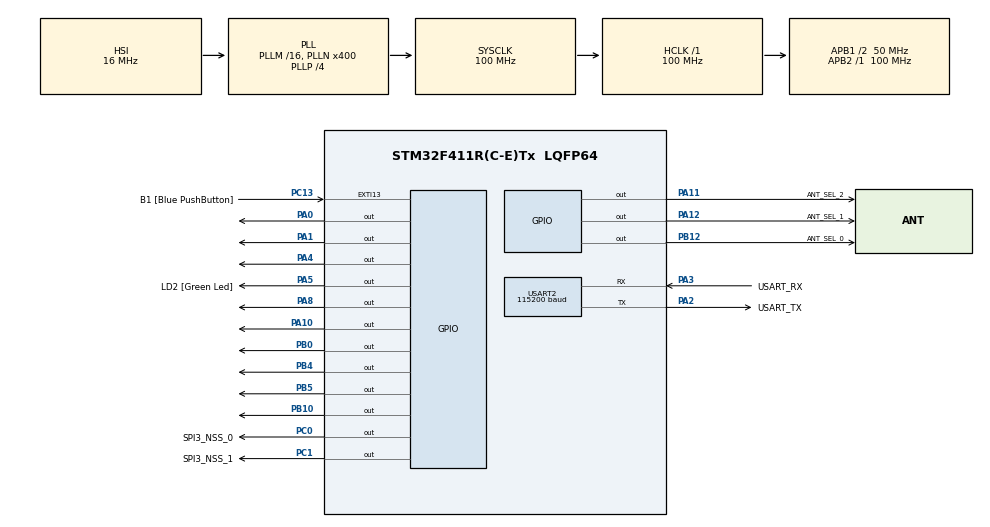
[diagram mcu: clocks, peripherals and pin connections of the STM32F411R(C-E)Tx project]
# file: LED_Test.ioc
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Mcu.Family=STM32F4
Mcu.Name=STM32F411R(C-E)Tx
Mcu.Package=LQFP64
NVIC.PriorityGroup=NVIC_PRIORITYGROUP_2
NVIC.USART2_IRQn=true\:1\:0\:true\:false\:true\:true
PA0-WKUP.Signal=GPIO_Output
PA1.Signal=GPIO_Output
PA10.PinState=GPIO_PIN_SET
PA10.Signal=GPIO_Output
PA11.GPIO_Label=ANT_SEL_2
PA11.PinState=GPIO_PIN_SET
PA11.Signal=GPIO_Output
PA12.GPIO_Label=ANT_SEL_1
PA12.PinState=GPIO_PIN_SET
PA12.Signal=GPIO_Output
PA13.GPIO_Label=TMS
PA13.Mode=Serial_Wire
PA13.Signal=SYS_JTMS-SWDIO
PA14.GPIO_Label=TCK
PA14.Mode=Serial_Wire
PA14.Signal=SYS_JTCK-SWCLK
PA2.GPIO_Label=USART_TX
PA2.Mode=Asynchronous
PA2.Signal=USART2_TX
PA3.GPIO_Label=USART_RX
PA3.Mode=Asynchronous
PA3.Signal=USART2_RX
PA4.Signal=GPIO_Output
PA5.GPIO_Label=LD2 [Green Led]
PA5.PinState=GPIO_PIN_SET
PA5.Signal=GPIO_Output
PA8.PinState=GPIO_PIN_SET
PA8.Signal=GPIO_Output
PB0.PinState=GPIO_PIN_SET
PB0.Signal=GPIO_Output
PB10.PinState=GPIO_PIN_SET
PB10.Signal=GPIO_Output
PB12.GPIO_Label=ANT_SEL_0
PB12.PinState=GPIO_PIN_SET
PB12.Signal=GPIO_Output
PB3.GPIO_Label=SWO
PB3.Signal=SYS_JTDO-SWO
PB4.PinState=GPIO_PIN_SET
PB4.Signal=GPIO_Output
PB5.PinState=GPIO_PIN_SET
PB5.Signal=GPIO_Output
PC0.GPIO_Label=SPI3_NSS_0
PC0.PinState=GPIO_PIN_SET
PC0.Signal=GPIO_Output
PC1.GPIO_Label=SPI3_NSS_1
PC1.PinState=GPIO_PIN_SET
PC1.Signal=GPIO_Output
PC13-ANTI_TAMP.GPIO_Label=B1 [Blue PushButton]
PC13-ANTI_TAMP.GPIO_ModeDefaultEXTI=GPIO_MODE_IT_FALLING
PC13-ANTI_TAMP.Signal=GPXTI13
PC14-OSC32_IN.Mode=LSE-External-Oscillator
PC14-OSC32_IN.Signal=RCC_OSC32_IN
PC15-OSC32_OUT.Mode=LSE-External-Oscillator
PC15-OSC32_OUT.Signal=RCC_OSC32_OUT
PH0\ -\ OSC_IN.Mode=HSE-External-Clock-Source
PH0\ -\ OSC_IN.Signal=RCC_OSC_IN
PH1\ -\ OSC_OUT.Mode=HSE-External-Clock-Source
PH1\ -\ OSC_OUT.Signal=RCC_OSC_OUT
ProjectManager.HeapSize=0x200
ProjectManager.StackSize=0x400
ProjectManager.TargetToolchain=SW4STM32
RCC.48MHZClocksFreq_Value=100000000
RCC.AHBFreq_Value=100000000
RCC.APB1CLKDivider=RCC_HCLK_DIV2
RCC.APB1Freq_Value=50000000
RCC.APB1TimFreq_Value=100000000
RCC.APB2Freq_Value=100000000
RCC.APB2TimFreq_Value=100000000
RCC.CortexFreq_Value=100000000
RCC.FLatency-AdvancedSettings=FLASH_LATENCY_3
RCC.HCLKFreq_Value=100000000
RCC.HSE_VALUE=8000000
RCC.HSI_VALUE=16000000
RCC.PLLN=400
RCC.PLLP=RCC_PLLP_DIV4
RCC.SYSCLKFreq_VALUE=100000000
RCC.SYSCLKSource=RCC_SYSCLKSOURCE_PLLCLK
RCC.VCOOutputFreq_Value=400000000
TIM3.Period=2000
TIM3.Prescaler=9999
USART2.BaudRate=115200
USART2.Mode=MODE_TX_RX
USART2.VirtualMode=VM_ASYNC
VP_TIM3_VS_ClockSourceINT.Mode=Internal
board=NUCLEO-F411RE

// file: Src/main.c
/* USER CODE BEGIN Header */
/*   MIT License
*
*    Copyright (c) 2019 Timothy Pansino, Adam Behnke, Zachary Neumann, Mitchell Keeney
*
*    Permission is hereby granted, free of charge, to any person obtaining a copy
*    of this software and associated documentation files (the "Software"), to deal
*    in the Software without restriction, including without limitation the rights
*    to use, copy, modify, merge, publish, distribute, sublicense, and/or sell
*    copies of the Software, and to permit persons to whom the Software is
*    furnished to do so, subject to the following conditions:
*
*    The above copyright notice and this permission notice shall be included in all
*    copies or substantial portions of the Software.
*
*    THE SOFTWARE IS PROVIDED "AS IS", WITHOUT WARRANTY OF ANY KIND, EXPRESS OR
*    IMPLIED, INCLUDING BUT NOT LIMITED TO THE WARRANTIES OF MERCHANTABILITY,
*    FITNESS FOR A PARTICULAR PURPOSE AND NONINFRINGEMENT. IN NO EVENT SHALL THE
*    AUTHORS OR COPYRIGHT HOLDERS BE LIABLE FOR ANY CLAIM, DAMAGES OR OTHER
*    LIABILITY, WHETHER IN AN ACTION OF CONTRACT, TORT OR OTHERWISE, ARISING FROM,
*    OUT OF OR IN CONNECTION WITH THE SOFTWARE OR THE USE OR OTHER DEALINGS IN THE
*    SOFTWARE.
*/
/**
  ******************************************************************************
  * @file           : main.c
  * @brief          : Main program body
  ******************************************************************************
  ** This notice applies to any and all portions of this file
  * that are not between comment pairs USER CODE BEGIN and
  * USER CODE END. Other portions of this file, whether
  * inserted by the user or by software development tools
  * are owned by their respective copyright owners.
  *
  * COPYRIGHT(c) 2019 STMicroelectronics
  *
  * Redistribution and use in source and binary forms, with or without modification,
  * are permitted provided that the following conditions are met:
  *   1. Redistributions of source code must retain the above copyright notice,
  *      this list of conditions and the following disclaimer.
  *   2. Redistributions in binary form must reproduce the above copyright notice,
  *      this list of conditions and the following disclaimer in the documentation
  *      and/or other materials provided with the distribution.
  *   3. Neither the name of STMicroelectronics nor the names of its contributors
  *      may be used to endorse or promote products derived from this software
  *      without specific prior written permission.
  *
  * THIS SOFTWARE IS PROVIDED BY THE COPYRIGHT HOLDERS AND CONTRIBUTORS "AS IS"
  * AND ANY EXPRESS OR IMPLIED WARRANTIES, INCLUDING, BUT NOT LIMITED TO, THE
  * IMPLIED WARRANTIES OF MERCHANTABILITY AND FITNESS FOR A PARTICULAR PURPOSE ARE
  * DISCLAIMED. IN NO EVENT SHALL THE COPYRIGHT HOLDER OR CONTRIBUTORS BE LIABLE
  * FOR ANY DIRECT, INDIRECT, INCIDENTAL, SPECIAL, EXEMPLARY, OR CONSEQUENTIAL
  * DAMAGES (INCLUDING, BUT NOT LIMITED TO, PROCUREMENT OF SUBSTITUTE GOODS OR
  * SERVICES; LOSS OF USE, DATA, OR PROFITS; OR BUSINESS INTERRUPTION) HOWEVER
  * CAUSED AND ON ANY THEORY OF LIABILITY, WHETHER IN CONTRACT, STRICT LIABILITY,
  * OR TORT (INCLUDING NEGLIGENCE OR OTHERWISE) ARISING IN ANY WAY OUT OF THE USE
  * OF THIS SOFTWARE, EVEN IF ADVISED OF THE POSSIBILITY OF SUCH DAMAGE.
  *
  ******************************************************************************
  */
/* USER CODE END Header */

#include "main.h"

/* USER CODE BEGIN Includes */
#include <stdarg.h>
#include <string.h>

#include "pieces.h"
#include "chess.h"
#include "micro.h"

/* USER CODE END Includes */

/* USER CODE BEGIN PD */
#define		LED_ADDRESS_0	GPIOA, GPIO_PIN_0
#define		LED_ADDRESS_1	GPIOA, GPIO_PIN_1
#define		LED_ADDRESS_2	GPIOA, GPIO_PIN_4
#define		LED_ADDRESS_3	GPIOB, GPIO_PIN_0
#define		LED_ADDRESS_4	GPIOC, GPIO_PIN_1
#define		LED_ADDRESS_5	GPIOC, GPIO_PIN_0
#define		LED_BLUE		GPIOA, GPIO_PIN_8
#define		LED_GREEN		GPIOB, GPIO_PIN_10
#define		LED_RED			GPIOB, GPIO_PIN_4
#define		LED_ENABLE		GPIOB, GPIO_PIN_5

#define 	TEST_DELAY		200

/* USER CODE END PD */

TIM_HandleTypeDef htim3;

UART_HandleTypeDef huart2;

/* USER CODE BEGIN PV */
char receiveBuffer[100];
char transmitBuffer[100];
char s[100];
int dataReceivedFlag = 0;
uint8_t receivedData = 0;
int currentLocation = 0;
int rfidReaderAddress = 0;
int rfidAntennaAddress = 0;

char* hello_world = "Hello World!";
char* newlineStr = NEWLINE_STR;
char* backSpace = BACKSPACE_STR;

// Boards
B curBoard;
B scanBoard;
/* USER CODE END PV */

void SystemClock_Config(void);
static void MX_GPIO_Init(void);
static void MX_USART2_UART_Init(void);
static void MX_TIM3_Init(void);
/* USER CODE BEGIN PFP */
void HAL_UART_RxCpltCallback(UART_HandleTypeDef * huart);
char * receiveString(void);
void transmitString(char *);
/* USER CODE END PFP */

int main(void)
{

  /* MCU Configuration--------------------------------------------------------*/

  /* Reset of all peripherals, Initializes the Flash interface and the Systick. */
  HAL_Init();

  /* Configure the system clock */
  SystemClock_Config();

  /* Initialize all configured peripherals */
  MX_GPIO_Init();
  MX_USART2_UART_Init();
  MX_TIM3_Init();
  /* USER CODE BEGIN 2 */
  // Uart init message
  Print(CLEAR_TERMINAL);
  Print("UART Initialized.\n");

  // Initialize Pins
  HAL_GPIO_WritePin(GPIOA, GPIO_PIN_5, 0);

  // Setup Board State
  blankBoard(curBoard);
  blankBoard(scanBoard);

  // Set LEDs blank
  for (int i = 0; i < 64; i++) {
	  updateLED(i, 0);
  }

  HAL_TIM_Base_Start_IT(&htim3);
  /* USER CODE END 2 */

  /* Infinite loop */
  /* USER CODE BEGIN WHILE */
  while (1)
  {
	// Scan
	//Print(CLEAR_TERMINAL);

  	Print("Testing...\n");
  	HAL_GPIO_WritePin(GPIOA, GPIO_PIN_5, 1);
    for (int i = 0; i < 16; i++) {

	  updateLED(i, 1);
	  HAL_Delay(TEST_DELAY);
	  updateLED(i, 2);
	  HAL_Delay(TEST_DELAY);
	  updateLED(i, 4);
	  HAL_Delay(TEST_DELAY);
	  updateLED(i, 0);
	  HAL_Delay(TEST_DELAY);

    	/*
  	  updateLED(i, 7);
  	  HAL_Delay(TEST_DELAY);
	  updateLED(i, 0);
	  HAL_Delay(TEST_DELAY);
	  */

    	/*
      updateLED(i, 1);
      updateLED((i+1) % 16, 2);
      updateLED((i+2) % 16, 4);
      updateLED((i+3) % 16, 0);
      HAL_Delay(TEST_DELAY);
      */
    }
  	HAL_GPIO_WritePin(GPIOA, GPIO_PIN_5, 0);
	HAL_Delay(1000);

	// Delay
    /* USER CODE END WHILE */

  }
}

void SystemClock_Config(void)
{
  RCC_OscInitTypeDef RCC_OscInitStruct = {0};
  RCC_ClkInitTypeDef RCC_ClkInitStruct = {0};

  /**Configure the main internal regulator output voltage
  */
  __HAL_RCC_PWR_CLK_ENABLE();
  __HAL_PWR_VOLTAGESCALING_CONFIG(PWR_REGULATOR_VOLTAGE_SCALE1);
  /**Initializes the CPU, AHB and APB busses clocks
  */
  RCC_OscInitStruct.OscillatorType = RCC_OSCILLATORTYPE_HSI;
  RCC_OscInitStruct.HSIState = RCC_HSI_ON;
  RCC_OscInitStruct.HSICalibrationValue = RCC_HSICALIBRATION_DEFAULT;
  RCC_OscInitStruct.PLL.PLLState = RCC_PLL_ON;
  RCC_OscInitStruct.PLL.PLLSource = RCC_PLLSOURCE_HSI;
  RCC_OscInitStruct.PLL.PLLM = 16;
  RCC_OscInitStruct.PLL.PLLN = 400;
  RCC_OscInitStruct.PLL.PLLP = RCC_PLLP_DIV4;
  RCC_OscInitStruct.PLL.PLLQ = 4;
  if (HAL_RCC_OscConfig(&RCC_OscInitStruct) != HAL_OK)
  {
    Error_Handler();
  }
  /**Initializes the CPU, AHB and APB busses clocks
  */
  RCC_ClkInitStruct.ClockType = RCC_CLOCKTYPE_HCLK|RCC_CLOCKTYPE_SYSCLK
                              |RCC_CLOCKTYPE_PCLK1|RCC_CLOCKTYPE_PCLK2;
  RCC_ClkInitStruct.SYSCLKSource = RCC_SYSCLKSOURCE_PLLCLK;
  RCC_ClkInitStruct.AHBCLKDivider = RCC_SYSCLK_DIV1;
  RCC_ClkInitStruct.APB1CLKDivider = RCC_HCLK_DIV2;
  RCC_ClkInitStruct.APB2CLKDivider = RCC_HCLK_DIV1;

  if (HAL_RCC_ClockConfig(&RCC_ClkInitStruct, FLASH_LATENCY_3) != HAL_OK)
  {
    Error_Handler();
  }
}

static void MX_TIM3_Init(void)
{

  TIM_ClockConfigTypeDef sClockSourceConfig = {0};
  TIM_MasterConfigTypeDef sMasterConfig = {0};

  htim3.Instance = TIM3;
  htim3.Init.Prescaler = 9999;
  htim3.Init.CounterMode = TIM_COUNTERMODE_UP;
  htim3.Init.Period = 2000;
  htim3.Init.ClockDivision = TIM_CLOCKDIVISION_DIV1;
  if (HAL_TIM_Base_Init(&htim3) != HAL_OK)
  {
    Error_Handler();
  }
  sClockSourceConfig.ClockSource = TIM_CLOCKSOURCE_INTERNAL;
  if (HAL_TIM_ConfigClockSource(&htim3, &sClockSourceConfig) != HAL_OK)
  {
    Error_Handler();
  }
  sMasterConfig.MasterOutputTrigger = TIM_TRGO_RESET;
  sMasterConfig.MasterSlaveMode = TIM_MASTERSLAVEMODE_DISABLE;
  if (HAL_TIMEx_MasterConfigSynchronization(&htim3, &sMasterConfig) != HAL_OK)
  {
    Error_Handler();
  }

}

static void MX_USART2_UART_Init(void)
{

  huart2.Instance = USART2;
  huart2.Init.BaudRate = 115200;
  huart2.Init.WordLength = UART_WORDLENGTH_8B;
  huart2.Init.StopBits = UART_STOPBITS_1;
  huart2.Init.Parity = UART_PARITY_NONE;
  huart2.Init.Mode = UART_MODE_TX_RX;
  huart2.Init.HwFlowCtl = UART_HWCONTROL_NONE;
  huart2.Init.OverSampling = UART_OVERSAMPLING_16;
  if (HAL_UART_Init(&huart2) != HAL_OK)
  {
    Error_Handler();
  }

}

static void MX_GPIO_Init(void)
{
  GPIO_InitTypeDef GPIO_InitStruct = {0};

  /* GPIO Ports Clock Enable */
  __HAL_RCC_GPIOC_CLK_ENABLE();
  __HAL_RCC_GPIOH_CLK_ENABLE();
  __HAL_RCC_GPIOA_CLK_ENABLE();
  __HAL_RCC_GPIOB_CLK_ENABLE();

  /*Configure GPIO pin Output Level */
  HAL_GPIO_WritePin(GPIOC, SPI3_NSS_0_Pin|SPI3_NSS_1_Pin, GPIO_PIN_SET);

  /*Configure GPIO pin Output Level */
  HAL_GPIO_WritePin(GPIOA, GPIO_PIN_0|GPIO_PIN_1|GPIO_PIN_4, GPIO_PIN_RESET);

  /*Configure GPIO pin Output Level */
  HAL_GPIO_WritePin(GPIOA, LD2_Pin|GPIO_PIN_8|GPIO_PIN_10|ANT_SEL_2_Pin
                          |ANT_SEL_1_Pin, GPIO_PIN_SET);

  /*Configure GPIO pin Output Level */
  HAL_GPIO_WritePin(GPIOB, GPIO_PIN_0|GPIO_PIN_10|ANT_SEL_0_Pin|GPIO_PIN_4
                          |GPIO_PIN_5, GPIO_PIN_SET);

  /*Configure GPIO pin : B1_Pin */
  GPIO_InitStruct.Pin = B1_Pin;
  GPIO_InitStruct.Mode = GPIO_MODE_IT_FALLING;
  GPIO_InitStruct.Pull = GPIO_NOPULL;
  HAL_GPIO_Init(B1_GPIO_Port, &GPIO_InitStruct);

  /*Configure GPIO pins : SPI3_NSS_0_Pin SPI3_NSS_1_Pin */
  GPIO_InitStruct.Pin = SPI3_NSS_0_Pin|SPI3_NSS_1_Pin;
  GPIO_InitStruct.Mode = GPIO_MODE_OUTPUT_PP;
  GPIO_InitStruct.Pull = GPIO_NOPULL;
  GPIO_InitStruct.Speed = GPIO_SPEED_FREQ_LOW;
  HAL_GPIO_Init(GPIOC, &GPIO_InitStruct);

  /*Configure GPIO pins : PA0 PA1 PA4 LD2_Pin
                           PA8 PA10 ANT_SEL_2_Pin ANT_SEL_1_Pin */
  GPIO_InitStruct.Pin = GPIO_PIN_0|GPIO_PIN_1|GPIO_PIN_4|LD2_Pin
                          |GPIO_PIN_8|GPIO_PIN_10|ANT_SEL_2_Pin|ANT_SEL_1_Pin;
  GPIO_InitStruct.Mode = GPIO_MODE_OUTPUT_PP;
  GPIO_InitStruct.Pull = GPIO_NOPULL;
  GPIO_InitStruct.Speed = GPIO_SPEED_FREQ_LOW;
  HAL_GPIO_Init(GPIOA, &GPIO_InitStruct);

  /*Configure GPIO pins : PB0 PB10 ANT_SEL_0_Pin PB4
                           PB5 */
  GPIO_InitStruct.Pin = GPIO_PIN_0|GPIO_PIN_10|ANT_SEL_0_Pin|GPIO_PIN_4
                          |GPIO_PIN_5;
  GPIO_InitStruct.Mode = GPIO_MODE_OUTPUT_PP;
  GPIO_InitStruct.Pull = GPIO_NOPULL;
  GPIO_InitStruct.Speed = GPIO_SPEED_FREQ_LOW;
  HAL_GPIO_Init(GPIOB, &GPIO_InitStruct);

}

/* USER CODE BEGIN 4 */
void HAL_TIM_PeriodElapsedCallback(TIM_HandleTypeDef *htim)
{
    if (htim->Instance == htim3.Instance)
    {

    }
}

void HAL_UART_RxCpltCallback(UART_HandleTypeDef * huart)
{
    /* Move data into buffer */
    receiveBuffer[currentLocation] = receivedData;

    /* Variable to keep track of location in buffer */
    if (((char)receiveBuffer[currentLocation] == '\n') || ((char)receiveBuffer[currentLocation] == '\r')) {
        HAL_UART_Transmit(&huart2, (uint8_t*) newlineStr, 2, TIMEOUT);
        dataReceivedFlag = 1;
        receiveBuffer[currentLocation] = '\0';
        currentLocation = 0;
    }
    else if (((char)receiveBuffer[currentLocation] == 0x08) || ((char)receiveBuffer[currentLocation] == 0x7F)) {
    	if (currentLocation > 0) {
        	Print(backSpace);
        	receiveBuffer[currentLocation] = '\0';
    		currentLocation--;
    	}
    }
    else {
        HAL_UART_Transmit(&huart2, &receivedData, 1, TIMEOUT);
        currentLocation++;
    }
}

char * receiveString(void) {
    /* Listen for input; print back to screen when fully received */
    while (!dataReceivedFlag) {
        HAL_UART_Receive_IT(&huart2, &receivedData, 1);
    }
    dataReceivedFlag = 0;
    return receiveBuffer;
}

void transmitString(char * s) {
	//int size = 0;
	int i;

	//while(s[size] != '\0') size++;
	for (i = 0; s[i] != '\0'; i++) {
		if (s[i] == '\n') {
			HAL_UART_Transmit(&huart2, (uint8_t*) newlineStr, 2, TIMEOUT);
		}
		else if (s[i] != '\r' && s[i] != '\0') {
			HAL_UART_Transmit(&huart2, (uint8_t*) &s[i], 1, TIMEOUT);
		}
	}

	return;
}

void Print(const char* format, ...) {
  va_list args;
  va_start(args, format);
  vsprintf(transmitBuffer, format, args);
  transmitString(transmitBuffer);
  va_end(args);

  return;
}

void Scan(char* s) {
	receiveString();
	strcpy(s, receiveBuffer);

	return;
}

void updateLED(int ledAddress, char color) {
	color = ~color;

	// Disable first
	HAL_GPIO_WritePin(LED_ENABLE, 0);

	// Set color
	HAL_GPIO_WritePin(LED_RED, color & 1);
	HAL_GPIO_WritePin(LED_BLUE, (color >> 1) & 1);
	HAL_GPIO_WritePin(LED_GREEN, (color >> 2) & 1);

	// Set address
	HAL_GPIO_WritePin(LED_ADDRESS_0, ledAddress & 1);
	HAL_GPIO_WritePin(LED_ADDRESS_1, (ledAddress >> 1) & 1);
	HAL_GPIO_WritePin(LED_ADDRESS_2, (ledAddress >> 2) & 1);
	HAL_GPIO_WritePin(LED_ADDRESS_3, ((ledAddress >> 3) & 1) ^ 1);
	//HAL_GPIO_WritePin(LED_ADDRESS_3, (ledAddress >> 3) & 1);
	HAL_GPIO_WritePin(LED_ADDRESS_4, (ledAddress >> 4) & 1);
	HAL_GPIO_WritePin(LED_ADDRESS_5, (ledAddress >> 5) & 1);

	// Clock in
	HAL_GPIO_WritePin(LED_ENABLE, 1);
	HAL_Delay(1);
	HAL_GPIO_WritePin(LED_ENABLE, 0);
}
/* USER CODE END 4 */

void Error_Handler(void)
{
}

/************************ (C) COPYRIGHT STMicroelectronics *****END OF FILE****/
